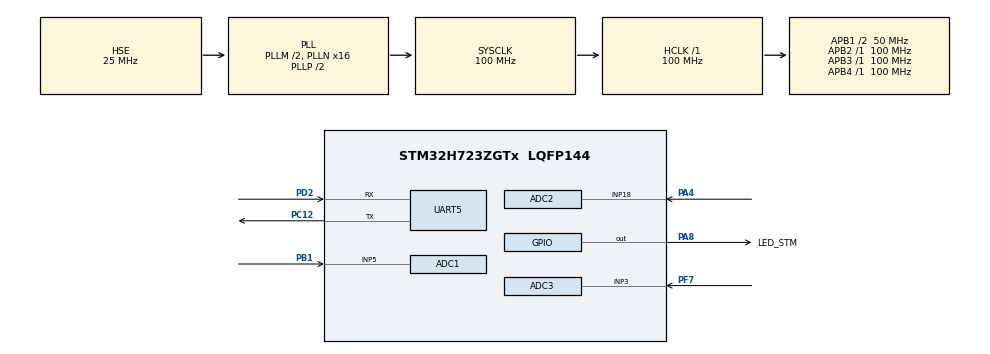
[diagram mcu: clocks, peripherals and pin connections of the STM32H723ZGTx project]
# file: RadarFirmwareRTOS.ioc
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ADC1.Channel-0\#ChannelRegularConversion=ADC_CHANNEL_5
ADC1.ClockPrescaler=ADC_CLOCK_ASYNC_DIV4
ADC1.ContinuousConvMode=DISABLE
ADC1.NbrOfConversionFlag=1
ADC1.OffsetNumber-0\#ChannelRegularConversion=ADC_OFFSET_NONE
ADC1.OffsetSignedSaturation-0\#ChannelRegularConversion=DISABLE
ADC1.Rank-0\#ChannelRegularConversion=1
ADC1.SamplingTime-0\#ChannelRegularConversion=ADC_SAMPLETIME_810CYCLES_5
ADC1.master=1
ADC2.Channel-0\#ChannelRegularConversion=ADC_CHANNEL_18
ADC2.ClockPrescaler=ADC_CLOCK_ASYNC_DIV4
ADC2.ContinuousConvMode=DISABLE
ADC2.NbrOfConversionFlag=1
ADC2.OffsetNumber-0\#ChannelRegularConversion=ADC_OFFSET_NONE
ADC2.OffsetSignedSaturation-0\#ChannelRegularConversion=DISABLE
ADC2.Rank-0\#ChannelRegularConversion=1
ADC2.SamplingTime-0\#ChannelRegularConversion=ADC_SAMPLETIME_810CYCLES_5
ADC3.Channel-0\#ChannelRegularConversion=ADC_CHANNEL_3
ADC3.Channel-1\#ChannelRegularConversion=ADC_CHANNEL_TEMPSENSOR
ADC3.Channel-2\#ChannelRegularConversion=ADC_CHANNEL_VREFINT
ADC3.ClockPrescaler=ADC_CLOCK_ASYNC_DIV4
ADC3.ContinuousConvMode=ENABLE
ADC3.DMAContinuousRequests=ENABLE
ADC3.EOCSelection=ADC_EOC_SEQ_CONV
ADC3.NbrOfConversion=3
ADC3.NbrOfConversionFlag=1
ADC3.OffsetNumber-0\#ChannelRegularConversion=ADC_OFFSET_NONE
ADC3.OffsetNumber-1\#ChannelRegularConversion=ADC_OFFSET_NONE
ADC3.OffsetNumber-2\#ChannelRegularConversion=ADC_OFFSET_NONE
ADC3.OffsetSign-0\#ChannelRegularConversion=ADC3_OFFSET_SIGN_NEGATIVE
ADC3.OffsetSign-1\#ChannelRegularConversion=ADC3_OFFSET_SIGN_NEGATIVE
ADC3.OffsetSign-2\#ChannelRegularConversion=ADC3_OFFSET_SIGN_NEGATIVE
ADC3.Rank-0\#ChannelRegularConversion=1
ADC3.Rank-1\#ChannelRegularConversion=2
ADC3.Rank-2\#ChannelRegularConversion=3
ADC3.SamplingTime-0\#ChannelRegularConversion=ADC3_SAMPLETIME_640CYCLES_5
ADC3.SamplingTime-1\#ChannelRegularConversion=ADC3_SAMPLETIME_640CYCLES_5
ADC3.SamplingTime-2\#ChannelRegularConversion=ADC3_SAMPLETIME_640CYCLES_5
CORTEX_M7.default_mode_Activation=1
Dma.ADC3.0.Direction=DMA_PERIPH_TO_MEMORY
Dma.ADC3.0.EventEnable=DISABLE
Dma.ADC3.0.FIFOMode=DMA_FIFOMODE_DISABLE
Dma.ADC3.0.Instance=DMA1_Stream0
Dma.ADC3.0.MemDataAlignment=DMA_MDATAALIGN_HALFWORD
Dma.ADC3.0.MemInc=DMA_MINC_ENABLE
Dma.ADC3.0.Mode=DMA_CIRCULAR
Dma.ADC3.0.PeriphDataAlignment=DMA_PDATAALIGN_HALFWORD
Dma.ADC3.0.PeriphInc=DMA_PINC_DISABLE
Dma.ADC3.0.Polarity=HAL_DMAMUX_REQ_GEN_RISING
Dma.ADC3.0.Priority=DMA_PRIORITY_LOW
Dma.ADC3.0.RequestNumber=1
Dma.ADC3.0.SignalID=NONE
Dma.ADC3.0.SyncEnable=DISABLE
Dma.ADC3.0.SyncPolarity=HAL_DMAMUX_SYNC_NO_EVENT
Dma.ADC3.0.SyncRequestNumber=1
Dma.ADC3.0.SyncSignalID=NONE
Dma.Request0=ADC3
FREERTOS.Tasks01=defaultTask,24,128,StartDefaultTask,Default,NULL,Dynamic,NULL,NULL
FREERTOS.configTOTAL_HEAP_SIZE=71680
FREERTOS.configUSE_NEWLIB_REENTRANT=1
Mcu.Family=STM32H7
Mcu.Name=STM32H723ZGTx
Mcu.Package=LQFP144
NVIC.ADC_IRQn=true\:5\:0\:false\:false\:true\:true\:true\:true\:true
NVIC.DMA1_Stream0_IRQn=true\:5\:0\:false\:false\:true\:true\:false\:true\:true
NVIC.PriorityGroup=NVIC_PRIORITYGROUP_4
NVIC.TIM6_DAC_IRQn=true\:0\:0\:true\:false\:true\:false\:false\:true\:true
NVIC.TimeBase=TIM6_DAC_IRQn
NVIC.TimeBaseIP=TIM6
NVIC.UART5_IRQn=true\:5\:0\:false\:false\:true\:true\:true\:true\:true
PA4.Signal=ADCx_INP18
PA8.GPIO_Label=LED_STM
PA8.Signal=GPIO_Output
PB1.Signal=ADCx_INP5
PC12.Mode=Asynchronous
PC12.Signal=UART5_TX
PD2.Mode=Asynchronous
PD2.Signal=UART5_RX
PF7.Mode=IN3-Single-Ended
PF7.Signal=ADC3_INP3
PH0-OSC_IN.Mode=HSE-External-Clock-Source
PH0-OSC_IN.Signal=RCC_OSC_IN
ProjectManager.HeapSize=0x200
ProjectManager.StackSize=0x400
ProjectManager.TargetToolchain=STM32CubeIDE
RCC.ADCFreq_Value=38750000
RCC.APB1Freq_Value=50000000
RCC.APB2Freq_Value=100000000
RCC.APB3Freq_Value=100000000
RCC.APB4Freq_Value=100000000
RCC.CortexFreq_Value=100000000
RCC.D2PPRE1=RCC_APB1_DIV2
RCC.DIVM1=2
RCC.DIVM2=4
RCC.DIVN1=16
RCC.DIVN2=31
RCC.DIVP2=5
RCC.HCLKFreq_Value=100000000
RCC.HSIDiv=RCC_PLLSAIDIVR_2
RCC.PLL2FRACN=0
RCC.PLL3FRACN=0
RCC.PLLFRACN=0
RCC.PLLSourceVirtual=RCC_PLLSOURCE_HSE
RCC.SYSCLKFreq_VALUE=100000000
RCC.SYSCLKSource=RCC_SYSCLKSOURCE_PLLCLK
RCC.USBFreq_Value=100000000
SH.ADCx_INP18.0=ADC2_INP18,IN18-Single-Ended
SH.ADCx_INP5.0=ADC1_INP5,IN5-Single-Ended
VP_ADC3_TempSens_Input.Mode=IN-TempSens
VP_ADC3_Vref_Input.Mode=IN-Vrefint
VP_FREERTOS_VS_CMSIS_V2.Mode=CMSIS_V2
VP_MEMORYMAP_VS_MEMORYMAP.Mode=CurAppReg
VP_SYS_VS_tim6.Mode=TIM6
board=custom

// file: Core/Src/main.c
/* USER CODE BEGIN Header */
/**
  ******************************************************************************
  * @file           : main.c
  * @brief          : Main program body
  ******************************************************************************
  * @attention
  *
  * Copyright (c) 2025 STMicroelectronics.
  * All rights reserved.
  *
  * This software is licensed under terms that can be found in the LICENSE file
  * in the root directory of this software component.
  * If no LICENSE file comes with this software, it is provided AS-IS.
  *
  ******************************************************************************
  */
/* USER CODE END Header */
#include "main.h"
#include "cmsis_os.h"
#include "adc.h"
#include "dma.h"
#include "usart.h"
#include "gpio.h"

/* USER CODE BEGIN Includes */
#include "global_resources.h"
#include "dsp_lib.h"

/* USER CODE END Includes */

/* USER CODE BEGIN PV */
uint8_t ucHeap[configTOTAL_HEAP_SIZE] __attribute__((section(".dtcmram")));

/* USER CODE END PV */

void SystemClock_Config(void);
void PeriphCommonClock_Config(void);
static void MPU_Config(void);
void MX_FREERTOS_Init(void);

int main(void)
{

  /* MPU Configuration--------------------------------------------------------*/
  MPU_Config();

  /* MCU Configuration--------------------------------------------------------*/

  /* Reset of all peripherals, Initializes the Flash interface and the Systick. */
  HAL_Init();

  /* Configure the system clock */
  SystemClock_Config();

  /* Configure the peripherals common clocks */
  PeriphCommonClock_Config();

  /* Initialize all configured peripherals */
  MX_GPIO_Init();
  MX_DMA_Init();
  MX_ADC1_Init();
  MX_UART5_Init();
  MX_ADC3_Init();
  MX_ADC2_Init();
  /* USER CODE BEGIN 2 */
  generate_hann_window(hann_window_iq);

  /* USER CODE END 2 */

  /* Init scheduler */
  osKernelInitialize();  /* Call init function for freertos objects (in cmsis_os2.c) */
  MX_FREERTOS_Init();

  /* Start scheduler */
  osKernelStart();

  /* We should never get here as control is now taken by the scheduler */

  /* Infinite loop */
  while (1)
  {

  }
}

void SystemClock_Config(void)
{
  RCC_OscInitTypeDef RCC_OscInitStruct = {0};
  RCC_ClkInitTypeDef RCC_ClkInitStruct = {0};

  /** Supply configuration update enable
  */
  HAL_PWREx_ConfigSupply(PWR_LDO_SUPPLY);

  /** Configure the main internal regulator output voltage
  */
  __HAL_PWR_VOLTAGESCALING_CONFIG(PWR_REGULATOR_VOLTAGE_SCALE2);

  while(!__HAL_PWR_GET_FLAG(PWR_FLAG_VOSRDY)) {}

  /** Initializes the RCC Oscillators according to the specified parameters
  * in the RCC_OscInitTypeDef structure.
  */
  RCC_OscInitStruct.OscillatorType = RCC_OSCILLATORTYPE_HSE;
  RCC_OscInitStruct.HSEState = RCC_HSE_BYPASS;
  RCC_OscInitStruct.PLL.PLLState = RCC_PLL_ON;
  RCC_OscInitStruct.PLL.PLLSource = RCC_PLLSOURCE_HSE;
  RCC_OscInitStruct.PLL.PLLM = 2;
  RCC_OscInitStruct.PLL.PLLN = 16;
  RCC_OscInitStruct.PLL.PLLP = 2;
  RCC_OscInitStruct.PLL.PLLQ = 2;
  RCC_OscInitStruct.PLL.PLLR = 2;
  RCC_OscInitStruct.PLL.PLLRGE = RCC_PLL1VCIRANGE_3;
  RCC_OscInitStruct.PLL.PLLVCOSEL = RCC_PLL1VCOWIDE;
  RCC_OscInitStruct.PLL.PLLFRACN = 0;
  if (HAL_RCC_OscConfig(&RCC_OscInitStruct) != HAL_OK)
  {
    Error_Handler();
  }

  /** Initializes the CPU, AHB and APB buses clocks
  */
  RCC_ClkInitStruct.ClockType = RCC_CLOCKTYPE_HCLK|RCC_CLOCKTYPE_SYSCLK
                              |RCC_CLOCKTYPE_PCLK1|RCC_CLOCKTYPE_PCLK2
                              |RCC_CLOCKTYPE_D3PCLK1|RCC_CLOCKTYPE_D1PCLK1;
  RCC_ClkInitStruct.SYSCLKSource = RCC_SYSCLKSOURCE_PLLCLK;
  RCC_ClkInitStruct.SYSCLKDivider = RCC_SYSCLK_DIV1;
  RCC_ClkInitStruct.AHBCLKDivider = RCC_HCLK_DIV1;
  RCC_ClkInitStruct.APB3CLKDivider = RCC_APB3_DIV1;
  RCC_ClkInitStruct.APB1CLKDivider = RCC_APB1_DIV2;
  RCC_ClkInitStruct.APB2CLKDivider = RCC_APB2_DIV1;
  RCC_ClkInitStruct.APB4CLKDivider = RCC_APB4_DIV1;

  if (HAL_RCC_ClockConfig(&RCC_ClkInitStruct, FLASH_LATENCY_1) != HAL_OK)
  {
    Error_Handler();
  }
}

void PeriphCommonClock_Config(void)
{
  RCC_PeriphCLKInitTypeDef PeriphClkInitStruct = {0};

  /** Initializes the peripherals clock
  */
  PeriphClkInitStruct.PeriphClockSelection = RCC_PERIPHCLK_ADC;
  PeriphClkInitStruct.PLL2.PLL2M = 4;
  PeriphClkInitStruct.PLL2.PLL2N = 31;
  PeriphClkInitStruct.PLL2.PLL2P = 5;
  PeriphClkInitStruct.PLL2.PLL2Q = 2;
  PeriphClkInitStruct.PLL2.PLL2R = 2;
  PeriphClkInitStruct.PLL2.PLL2RGE = RCC_PLL2VCIRANGE_2;
  PeriphClkInitStruct.PLL2.PLL2VCOSEL = RCC_PLL2VCOWIDE;
  PeriphClkInitStruct.PLL2.PLL2FRACN = 0;
  PeriphClkInitStruct.AdcClockSelection = RCC_ADCCLKSOURCE_PLL2;
  if (HAL_RCCEx_PeriphCLKConfig(&PeriphClkInitStruct) != HAL_OK)
  {
    Error_Handler();
  }
}

 /* MPU Configuration */

void MPU_Config(void)
{
  MPU_Region_InitTypeDef MPU_InitStruct = {0};

  /* Disables the MPU */
  HAL_MPU_Disable();

  /** Initializes and configures the Region and the memory to be protected
  */
  MPU_InitStruct.Enable = MPU_REGION_ENABLE;
  MPU_InitStruct.Number = MPU_REGION_NUMBER0;
  MPU_InitStruct.BaseAddress = 0x0;
  MPU_InitStruct.Size = MPU_REGION_SIZE_4GB;
  MPU_InitStruct.SubRegionDisable = 0x87;
  MPU_InitStruct.TypeExtField = MPU_TEX_LEVEL0;
  MPU_InitStruct.AccessPermission = MPU_REGION_NO_ACCESS;
  MPU_InitStruct.DisableExec = MPU_INSTRUCTION_ACCESS_DISABLE;
  MPU_InitStruct.IsShareable = MPU_ACCESS_SHAREABLE;
  MPU_InitStruct.IsCacheable = MPU_ACCESS_NOT_CACHEABLE;
  MPU_InitStruct.IsBufferable = MPU_ACCESS_NOT_BUFFERABLE;

  HAL_MPU_ConfigRegion(&MPU_InitStruct);
  /* Enables the MPU */
  HAL_MPU_Enable(MPU_PRIVILEGED_DEFAULT);

}

void HAL_TIM_PeriodElapsedCallback(TIM_HandleTypeDef *htim)
{
  if (htim->Instance == TIM6)
  {
    HAL_IncTick();
  }
}

void Error_Handler(void)
{
  __disable_irq();
  while (1)
  {
  }
}

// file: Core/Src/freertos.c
/* USER CODE BEGIN Header */
/**
  ******************************************************************************
  * File Name          : freertos.c
  * Description        : Code for freertos applications
  ******************************************************************************
  * @attention
  *
  * Copyright (c) 2026 STMicroelectronics.
  * All rights reserved.
  *
  * This software is licensed under terms that can be found in the LICENSE file
  * in the root directory of this software component.
  * If no LICENSE file comes with this software, it is provided AS-IS.
  *
  ******************************************************************************
  */
/* USER CODE END Header */

#include "FreeRTOS.h"
#include "task.h"
#include "main.h"
#include "cmsis_os.h"

/* USER CODE BEGIN Includes */
#include "global_resources.h"
#include "calibration_task.h"
#include "dsp_task.h"
#include "temperature_task.h"

/* USER CODE END Includes */

/* Definitions for defaultTask */
osThreadId_t defaultTaskHandle;
const osThreadAttr_t defaultTask_attributes = {
  .name = "defaultTask",
  .stack_size = 128 * 4,
  .priority = (osPriority_t) osPriorityNormal,
};

void StartDefaultTask(void *argument);

void MX_FREERTOS_Init(void); /* (MISRA C 2004 rule 8.1) */

void MX_FREERTOS_Init(void) {

  /* USER CODE BEGIN RTOS_SEMAPHORES */
  /* add semaphores, ... */
	xUARTSemaphore = xSemaphoreCreateMutex();
	if(xUARTSemaphore == NULL) {
		Error_Handler();
	}

  /* USER CODE END RTOS_SEMAPHORES */

  /* USER CODE BEGIN RTOS_TIMERS */
  /* start timers, add new ones, ... */
	timerCalibrationHandle = osTimerNew(TimerCalibration_Callback, osTimerOnce, NULL, NULL);
	timerIQHandle = osTimerNew(TimerIQ_Callback, osTimerPeriodic, NULL, NULL);
	timerTemperatureHandle = osTimerNew(TimerTemperature_Callback, osTimerPeriodic, NULL, NULL);

	osTimerStart(timerCalibrationHandle, pdMS_TO_TICKS(10000));
  /* USER CODE END RTOS_TIMERS */

  /* USER CODE BEGIN RTOS_QUEUES */
  /* add queues, ... */
	xIQStreamBuffer = xStreamBufferCreate(FFT_SIZE * 8, 1);
	if(xIQStreamBuffer == NULL) {
		Error_Handler();
	}

  /* USER CODE END RTOS_QUEUES */

  /* Create the thread(s) */
  /* creation of defaultTask */
  defaultTaskHandle = osThreadNew(StartDefaultTask, NULL, &defaultTask_attributes);

  /* USER CODE BEGIN RTOS_THREADS */
  /* add threads, ... */
  CalibrationTaskHandle = osThreadNew(vCalibrationTask, NULL, &CalibrationTask_attr);
  IQTaskHandle = osThreadNew(vIQTask, NULL, &IQTask_attr);
  STFTTaskHandle = osThreadNew(vSTFTTask, NULL, &STFTTask_attr);
  TemperatureTaskHandle = osThreadNew(vTemperatureTask, NULL, &TemperatureTask_attr);

  /* USER CODE END RTOS_THREADS */

}

void StartDefaultTask(void *argument)
{
  for(;;)
  {
    osDelay(1);
  }
}
